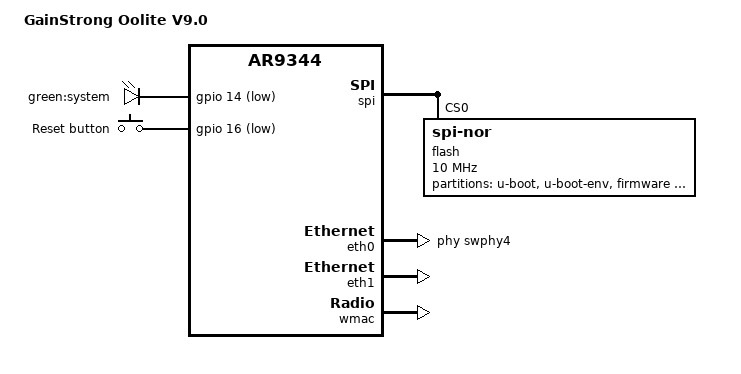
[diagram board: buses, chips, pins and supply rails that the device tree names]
// SPDX-License-Identifier: GPL-2.0-or-later OR MIT

#include "ar9344.dtsi"

#include <dt-bindings/gpio/gpio.h>
#include <dt-bindings/input/input.h>
#include <dt-bindings/leds/common.h>

/ {
	model = "GainStrong Oolite V9.0";
	compatible = "gainstrong,oolite-v9.0", "qca,ar9344";

	aliases {
		led-boot = &led_system;
		led-failsafe = &led_system;
		led-running = &led_system;
		led-upgrade = &led_system;
	};

	leds {
		compatible = "gpio-leds";

		led_system: led-system {
			label = "green:system";
			gpios = <&gpio 14 GPIO_ACTIVE_LOW>;
			default-state = "on";
		};
	};

	keys {
		compatible = "gpio-keys";

		reset {
			label = "Reset button";
			linux,code = <KEY_RESTART>;
			gpios = <&gpio 16 GPIO_ACTIVE_LOW>;
		};
	};
};

&spi {
	status = "okay";

	flash@0 {
		compatible = "jedec,spi-nor";
		reg = <0>;
		spi-max-frequency = <10000000>;

		partitions {
			compatible = "fixed-partitions";
			#address-cells = <1>;
			#size-cells = <1>;

			partition@0 {
				label = "u-boot";
				reg = <0x000000 0x040000>;
				read-only;
			};

			partition@40000 {
				label = "u-boot-env";
				reg = <0x040000 0x010000>;
			};

			partition@50000 {
				compatible = "denx,uimage";
				label = "firmware";
				reg = <0x050000 0xfa0000>;
			};

			partition@ff0000 {
				label = "art";
				reg = <0xff0000 0x010000>;

				compatible = "nvmem-cells";
				#address-cells = <1>;
				#size-cells = <1>;

				calibration_art_1000: calibration_data@1000 {
					reg = <0x1000 0x440>;
				};

				macaddr_art_1002: macaddr@1002 {
					reg = <0x1002 0x6>;
				};
			};
		};
	};
};

&eth0 {
	status = "okay";

	phy-handle = <&swphy4>;

	nvmem-cells = <&macaddr_art_1002>;
	nvmem-cell-names = "mac-address";
};

&eth1 {
	status = "okay";

	nvmem-cells = <&macaddr_art_1002>;
	nvmem-cell-names = "mac-address";
	mac-address-increment = <1>;
};

&wmac {
	status = "okay";

	nvmem-cells = <&macaddr_art_1002>, <&calibration_art_1000>;
	nvmem-cell-names = "mac-address", "calibration";
};
